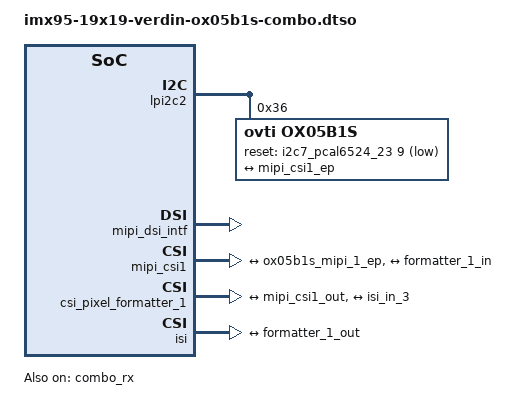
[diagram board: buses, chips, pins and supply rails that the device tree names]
// SPDX-License-Identifier: (GPL-2.0+ OR MIT)
/*
 * Copyright 2023 NXP
 */

/dts-v1/;
/plugin/;

#include <dt-bindings/gpio/gpio.h>

&lpi2c2 {
	#address-cells = <1>;
	#size-cells = <0>;
	status = "okay";

	ox05b1s: ox05b1s_mipi@36 {
		compatible = "ovti,ox05b1s";
		reg = <0x36>;
		reset-gpios = <&i2c7_pcal6524_23 9 GPIO_ACTIVE_LOW>;
		orientation = <2>;
		rotation = <0>;
		status = "okay";

		port {
			ox05b1s_mipi_1_ep: endpoint {
				remote-endpoint = <&mipi_csi1_ep>;
				data-lanes = <1 2 3 4>;
				clock-lanes = <0>;
			};
		};
	};
};

&display_stream_csr {
	status = "disabled";
};

&display_master_csr {
	status = "disabled";
};

&mipi_tx_phy_csr {
	status = "disabled";
};

&mipi_dsi_intf {
	status = "okay";
};

&combo_rx {
	status = "okay";
};

&mipi_csi1 {
	status = "okay";

	ports {
		#address-cells = <1>;
		#size-cells = <0>;

		port@0 {
			reg = <0>;
			mipi_csi1_ep: endpoint {
				remote-endpoint = <&ox05b1s_mipi_1_ep>;
				data-lanes = <1 2 3 4>;
				clock-lanes = <0>;
			};
		};

		port@1 {
			reg = <1>;
				mipi_csi1_out: endpoint {
				remote-endpoint = <&formatter_1_in>;
			};
		};
	};
};

&csi_pixel_formatter_1 {
	status = "okay";

	ports {
		#address-cells = <1>;
		#size-cells = <0>;

		port@0 {
			reg = <0>;

			formatter_1_in: endpoint {
				remote-endpoint = <&mipi_csi1_out>;
			};
		};

		port@1 {
			reg = <1>;

			formatter_1_out: endpoint {
				remote-endpoint = <&isi_in_3>;
			};
		};
	};
};

&isi {
	status = "okay";

	ports {
		#address-cells = <1>;
		#size-cells = <0>;

		port@3 {
			reg = <3>;

			isi_in_3: endpoint {
				remote-endpoint = <&formatter_1_out>;
			};
		};
	};
};
